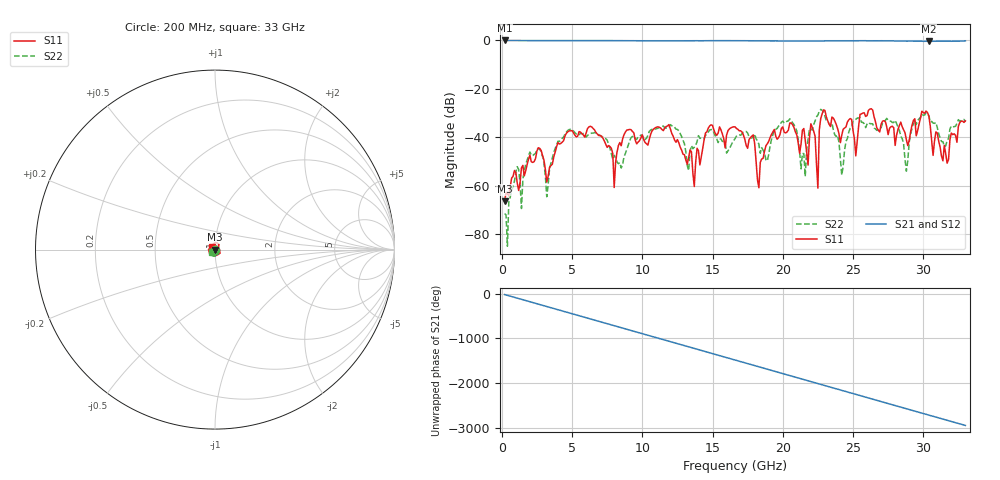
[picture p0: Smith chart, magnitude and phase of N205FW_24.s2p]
# GHZ S RI R 50
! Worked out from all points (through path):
!   329 points, 200 MHz to 33 GHz, reference 50 ohm
!   highest |S21| = -0.02 dB at 200 MHz (marker M1); lowest = -0.4 dB at 30.4 GHz (marker M2)
!   group delay of S21, straight-line fit = 248 ps
!   lowest |S11| = -66.4 dB at 200 MHz (marker M3), VSWR 1.00, Z = 50 + j0.00937 ohm
!   |S11| at or under -10 dB: start of sweep to end of sweep
!   |S22| runs from -84.9 to -28.4 dB; largest |S21 - S12| = 0.0022
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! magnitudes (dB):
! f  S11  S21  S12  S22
! 200 MHz  -66.4  0.0  0.0  -71.4
! 5.7 GHz  -38.5  -0.1  -0.1  -38.5
! 8 GHz  -60.7  -0.1  -0.1  -47.4
! 8.9 GHz  -37.0  -0.1  -0.1  -44.9
! 11.2 GHz  -35.9  -0.2  -0.2  -35.9
! 13.7 GHz  -60.3  -0.2  -0.2  -44.1
! 16.6 GHz  -35.7  -0.1  -0.1  -40.5
! 17.9 GHz  -39.0  -0.2  -0.2  -39.8
! 18.3 GHz  -60.8  -0.2  -0.2  -42.8
! 20.5 GHz  -34.1  -0.3  -0.3  -32.4
! 21.6 GHz  -41.2  -0.3  -0.3  -56.1
! 22.1 GHz  -35.9  -0.3  -0.3  -37.0
! 22.5 GHz  -60.9  -0.3  -0.3  -30.8
! 22.6 GHz  -37.0  -0.3  -0.3  -29.2
! 22.9 GHz  -28.7  -0.3  -0.2  -29.3
! 24.2 GHz  -39.1  -0.2  -0.2  -55.6
! 25 GHz  -37.1  -0.1  -0.1  -33.4
! 27.6 GHz  -36.2  -0.2  -0.2  -33.3
! 28.8 GHz  -41.0  -0.3  -0.3  -53.9
! 30.4 GHz  -31.2  -0.4  -0.4  -31.1
! 31.7 GHz  -50.6  -0.3  -0.3  -41.3
! 33 GHz  -33.2  -0.2  -0.2  -33.6
